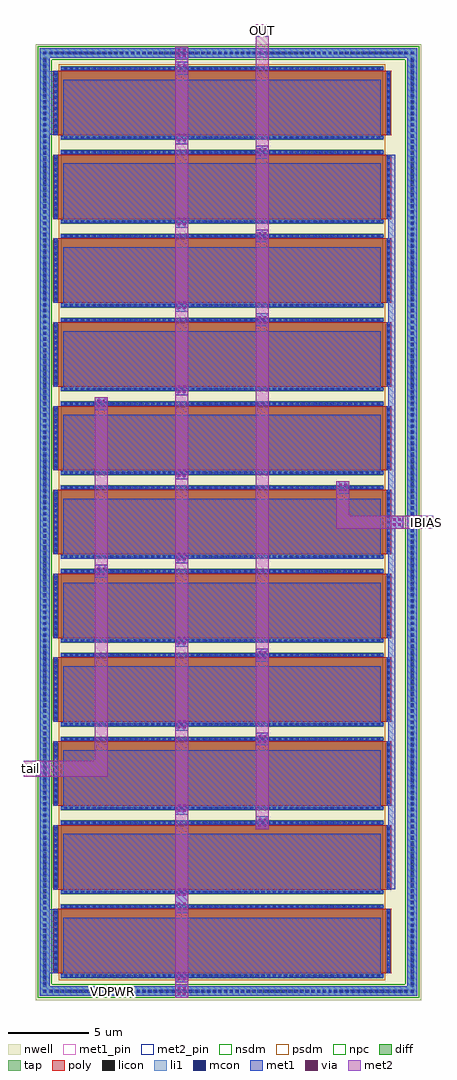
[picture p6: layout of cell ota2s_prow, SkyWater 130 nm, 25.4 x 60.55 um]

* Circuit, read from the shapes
.subckt ota2s_prow IBIAS OUT VDPWR tail
XM1 VDPWR VDPWR VDPWR VDPWR sky130_fd_pr__pfet_01v8 w=20 l=4 m=2
XM2 OUT IBIAS VDPWR VDPWR sky130_fd_pr__pfet_01v8 w=20 l=4 m=6
XM3 tail IBIAS VDPWR VDPWR sky130_fd_pr__pfet_01v8 w=20 l=4 m=2
XM4 IBIAS IBIAS VDPWR VDPWR sky130_fd_pr__pfet_01v8 w=20 l=4
.ends

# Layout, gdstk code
from math import pi, radians
import gdstk
lib = gdstk.Library(unit=1e-6, precision=1e-09)
def R(c, l, rs):  # rectangles x0, y0, x1, y1
    for r in rs: c.add(gdstk.rectangle(r[:2], r[2:], *l))
def A(c, l, x, y, w, h, nx, ny, dx, dy):  # array of equal rectangles
    R(c, l, [(x+i*dx, y+j*dy, x+i*dx+w, y+j*dy+h) for i in range(nx) for j in range(ny)])
nwell = (64, 20)
diff = (65, 20)
tap = (65, 44)
poly = (66, 20)
licon = (66, 44)
li1 = (67, 20)
mcon = (67, 44)
met1_pin = (68, 16)
met1 = (68, 20)
via = (68, 44)
met2_pin = (69, 16)
met2 = (69, 20)
nsdm = (93, 44)
psdm = (94, 20)
npc = (95, 20)

sky130_fd_pr__pfet_01v8_ = lib.new_cell('sky130_fd_pr__pfet_01v8_CMT7AQ')
R(sky130_fd_pr__pfet_01v8_, nwell, [(-2.47,-10.5,2.47,10.5)])
R(sky130_fd_pr__pfet_01v8_, diff, [(-2.29,-10,2.29,10)])
R(sky130_fd_pr__pfet_01v8_, poly, [(-2,-10.485,2,10.485)])
A(sky130_fd_pr__pfet_01v8_, licon, -1.785, -10.405, 0.17, 0.17, 11, 2, 0.34, 20.64)
A(sky130_fd_pr__pfet_01v8_, licon, -2.23, -9.775, 0.17, 0.17, 1, 58, 0, 0.34)
A(sky130_fd_pr__pfet_01v8_, licon, 2.06, -9.775, 0.17, 0.17, 1, 58, 0, 0.34)
R(sky130_fd_pr__pfet_01v8_, li1, [(-2,-10.405,2,-10.235), (-2.23,-10.02,-2.06,10.02), (2.06,-10.02,2.23,10.02), (-2,10.235,2,10.405)])
A(sky130_fd_pr__pfet_01v8_, mcon, -1.885, -10.405, 0.17, 0.17, 11, 2, 0.36, 20.64)
A(sky130_fd_pr__pfet_01v8_, mcon, -2.23, -9.805, 0.17, 0.17, 1, 55, 0, 0.36)
A(sky130_fd_pr__pfet_01v8_, mcon, 2.06, -9.805, 0.17, 0.17, 1, 55, 0, 0.36)
R(sky130_fd_pr__pfet_01v8_, met1, [(-1.98,-10.435,1.98,-10.205), (-2.26,-10,-2.03,10), (2.03,-10,2.26,10), (-1.98,10.205,1.98,10.435)])
R(sky130_fd_pr__pfet_01v8_, psdm, [(-2.415,-10.125,2.415,10.125)])
R(sky130_fd_pr__pfet_01v8_, npc, [(-1.885,-10.505,1.885,-10.135), (-1.885,10.135,1.885,10.505)])
sky130_fd_pr__pfet_01v8_.add(gdstk.Label('G', (0,10.32), layer=67, texttype=5))
sky130_fd_pr__pfet_01v8_.add(gdstk.Label('S', (2.145,0), layer=67, texttype=5))
sky130_fd_pr__pfet_01v8_.add(gdstk.Label('D', (-2.145,0), layer=67, texttype=5))

ota2s_prow_arr = lib.new_cell('ota2s_prow_arr')
R(ota2s_prow_arr, nwell, [(-0.25,-0.25,23.65,59.05)])
R(ota2s_prow_arr, tap, [(0,0,23.4,0.6), (0,0.6,0.6,58.2), (22.8,0.6,23.4,58.2), (0,58.2,23.4,58.8)])
A(ota2s_prow_arr, licon, 0.565, 0.215, 0.17, 0.17, 66, 2, 0.34, 58.2)
A(ota2s_prow_arr, licon, 0.215, 0.585, 0.17, 0.17, 1, 170, 0, 0.34)
A(ota2s_prow_arr, licon, 23.015, 0.585, 0.17, 0.17, 1, 170, 0, 0.34)
R(ota2s_prow_arr, licon, [(0.215,0.215,0.385,0.385), (23.015,0.215,23.185,0.385), (0.215,58.415,0.385,58.585), (23.015,58.415,23.185,58.585)])
R(ota2s_prow_arr, li1, [(0,0,23.4,0.6), (0,0.6,0.6,58.2), (22.8,0.6,23.4,58.2), (0,58.2,23.4,58.8)])
A(ota2s_prow_arr, mcon, 0.635, 0.215, 0.17, 0.17, 62, 2, 0.36, 58.2)
A(ota2s_prow_arr, mcon, 0.215, 0.695, 0.17, 0.17, 1, 160, 0, 0.36)
A(ota2s_prow_arr, mcon, 23.015, 0.695, 0.17, 0.17, 1, 160, 0, 0.36)
R(ota2s_prow_arr, mcon, [(0.215,0.215,0.385,0.385), (23.015,0.215,23.185,0.385), (0.215,58.415,0.385,58.585), (23.015,58.415,23.185,58.585)])
A(ota2s_prow_arr, met1, 1.45, 1.14, 19.7, 3.71, 1, 11, 0, 5.2)
A(ota2s_prow_arr, met1, 13.4, 10.345, 0.8, 0.8, 1, 3, 0, 5.2)
A(ota2s_prow_arr, met1, 8.4, 11.255, 0.8, 0.285, 1, 9, 0, 5.2)
A(ota2s_prow_arr, met1, 13.4, 41.545, 0.8, 0.8, 1, 3, 0, 5.2)
R(ota2s_prow_arr, met1, [(8.4,-0.1,9.2,0), (0,0,23.4,0.6), (0,0.6,0.6,1.42), (8.4,0.6,9.2,0.7), (22.8,0.6,23.4,58.2), (8.4,0.855,9.2,1.14), (0,1.42,1.095,5.38), (8.4,5.145,9.2,6.34), (0,5.38,0.6,53.42), (21.6,6.62,22.05,29), (3.4,25.945,4.2,26.745), (21.6,29,22.55,29.8), (21.6,29.8,22.05,52.18), (18.4,31.145,19.2,31.945), (3.4,36.345,4.2,37.145), (0,53.42,1.095,57.38), (8.4,57.145,9.2,57.945), (0,57.38,0.6,58.2), (8.4,58.1,9.2,58.2), (0,58.2,23.4,58.8), (8.4,58.8,9.2,58.9)])
R(ota2s_prow_arr, via, [(8.565,0.065,8.715,0.215), (8.885,0.065,9.035,0.215), (8.565,0.385,8.715,0.535), (8.885,0.385,9.035,0.535), (8.565,1.02,8.715,1.17), (8.885,1.02,9.035,1.17), (8.565,1.34,8.715,1.49), (8.885,1.34,9.035,1.49), (8.565,5.31,8.715,5.46), (8.885,5.31,9.035,5.46), (8.565,5.63,8.715,5.78), (8.885,5.63,9.035,5.78), (8.565,6.22,8.715,6.37), (8.885,6.22,9.035,6.37), (8.565,6.54,8.715,6.69), (8.885,6.54,9.035,6.69), (13.565,10.51,13.715,10.66), (13.885,10.51,14.035,10.66), (13.565,10.83,13.715,10.98), (13.885,10.83,14.035,10.98), (8.565,11.42,8.715,11.57), (8.885,11.42,9.035,11.57), (8.565,11.74,8.715,11.89), (8.885,11.74,9.035,11.89), (13.565,15.71,13.715,15.86), (13.885,15.71,14.035,15.86), (13.565,16.03,13.715,16.18), (13.885,16.03,14.035,16.18), (8.565,16.62,8.715,16.77), (8.885,16.62,9.035,16.77), (8.565,16.94,8.715,17.09), (8.885,16.94,9.035,17.09), (13.565,20.91,13.715,21.06), (13.885,20.91,14.035,21.06), (13.565,21.23,13.715,21.38), (13.885,21.23,14.035,21.38), (8.565,21.82,8.715,21.97), (8.885,21.82,9.035,21.97), (8.565,22.14,8.715,22.29), (8.885,22.14,9.035,22.29), (3.565,26.11,3.715,26.26), (3.885,26.11,4.035,26.26), (3.565,26.43,3.715,26.58), (3.885,26.43,4.035,26.58), (8.565,27.02,8.715,27.17), (8.885,27.02,9.035,27.17), (8.565,27.34,8.715,27.49), (8.885,27.34,9.035,27.49), (21.915,29.165,22.065,29.315), (22.235,29.165,22.385,29.315), (21.915,29.485,22.065,29.635), (22.235,29.485,22.385,29.635), (18.565,31.31,18.715,31.46), (18.885,31.31,19.035,31.46), (18.565,31.63,18.715,31.78), (18.885,31.63,19.035,31.78), (8.565,32.22,8.715,32.37), (8.885,32.22,9.035,32.37), (8.565,32.54,8.715,32.69), (8.885,32.54,9.035,32.69), (3.565,36.51,3.715,36.66), (3.885,36.51,4.035,36.66), (3.565,36.83,3.715,36.98), (3.885,36.83,4.035,36.98), (8.565,37.42,8.715,37.57), (8.885,37.42,9.035,37.57), (8.565,37.74,8.715,37.89), (8.885,37.74,9.035,37.89), (13.565,41.71,13.715,41.86), (13.885,41.71,14.035,41.86), (13.565,42.03,13.715,42.18), (13.885,42.03,14.035,42.18), (8.565,42.62,8.715,42.77), (8.885,42.62,9.035,42.77), (8.565,42.94,8.715,43.09), (8.885,42.94,9.035,43.09), (13.565,46.91,13.715,47.06), (13.885,46.91,14.035,47.06), (13.565,47.23,13.715,47.38), (13.885,47.23,14.035,47.38), (8.565,47.82,8.715,47.97), (8.885,47.82,9.035,47.97), (8.565,48.14,8.715,48.29), (8.885,48.14,9.035,48.29), (13.565,52.11,13.715,52.26), (13.885,52.11,14.035,52.26), (13.565,52.43,13.715,52.58), (13.885,52.43,14.035,52.58), (8.565,53.02,8.715,53.17), (8.885,53.02,9.035,53.17), (8.565,53.34,8.715,53.49), (8.885,53.34,9.035,53.49), (8.565,57.31,8.715,57.46), (8.885,57.31,9.035,57.46), (8.565,57.63,8.715,57.78), (8.885,57.63,9.035,57.78), (8.565,58.265,8.715,58.415), (8.885,58.265,9.035,58.415), (8.565,58.585,8.715,58.735), (8.885,58.585,9.035,58.735)])
A(ota2s_prow_arr, met2, 13.4, 10.345, 0.8, 0.8, 1, 3, 0, 5.2)
A(ota2s_prow_arr, met2, 8.4, 11.255, 0.8, 0.8, 1, 9, 0, 5.2)
A(ota2s_prow_arr, met2, 13.4, 41.545, 0.8, 0.8, 1, 3, 0, 5.2)
R(ota2s_prow_arr, met2, [(8.4,-0.1,9.2,0.7), (8.4,0.855,9.2,1.655), (8.4,5.145,9.2,6.855), (3.4,25.945,4.2,26.745), (21.75,29,22.55,29.8), (18.4,31.145,19.2,31.945), (3.4,36.345,4.2,37.145), (8.4,57.145,9.2,57.945), (8.4,58.1,9.2,58.9)])
R(ota2s_prow_arr, nsdm, [(-0.125,-0.125,23.525,0.725), (-0.125,0.725,0.725,58.075), (22.675,0.725,23.525,58.075), (-0.125,58.075,23.525,58.925)])
A(ota2s_prow_arr, psdm, 1.175, 5.815, 20.25, 0.37, 1, 10, 0, 5.2)
ota2s_prow_arr.add(gdstk.Reference(sky130_fd_pr__pfet_01v8_, (11.3,24.2), rotation=3*pi/2))
ota2s_prow_arr.add(gdstk.Reference(sky130_fd_pr__pfet_01v8_, (11.3,50.2), rotation=3*pi/2))
ota2s_prow_arr.add(gdstk.Reference(sky130_fd_pr__pfet_01v8_, (11.3,45), rotation=3*pi/2))
ota2s_prow_arr.add(gdstk.Reference(sky130_fd_pr__pfet_01v8_, (11.3,19), rotation=3*pi/2))
ota2s_prow_arr.add(gdstk.Reference(sky130_fd_pr__pfet_01v8_, (11.3,13.8), rotation=3*pi/2))
ota2s_prow_arr.add(gdstk.Reference(sky130_fd_pr__pfet_01v8_, (11.3,29.4), rotation=3*pi/2))
ota2s_prow_arr.add(gdstk.Reference(sky130_fd_pr__pfet_01v8_, (11.3,8.6), rotation=3*pi/2))
ota2s_prow_arr.add(gdstk.Reference(sky130_fd_pr__pfet_01v8_, (11.3,34.6), rotation=3*pi/2))
ota2s_prow_arr.add(gdstk.Reference(sky130_fd_pr__pfet_01v8_, (11.3,55.4), rotation=3*pi/2))
ota2s_prow_arr.add(gdstk.Reference(sky130_fd_pr__pfet_01v8_, (11.3,39.8), rotation=3*pi/2))
ota2s_prow_arr.add(gdstk.Reference(sky130_fd_pr__pfet_01v8_, (11.3,3.4), rotation=3*pi/2))

ota2s_prow = lib.new_cell('ota2s_prow')
R(ota2s_prow, met1_pin, [(4,0,5,0.6)])
R(ota2s_prow, met1, [(4,0,5,0.6)])
R(ota2s_prow, met2_pin, [(-1,13.6,-0.2,14.6), (23.6,29,24.4,29.8), (13.4,59.5,14.2,60.3)])
R(ota2s_prow, met2, [(8.4,-0.1,9.2,58.9), (13.4,10.345,14.2,60.3), (-1,13.6,4.2,14.6), (3.4,14.6,4.2,37.145), (18.4,29,24.4,29.8), (18.4,29.8,19.2,31.945)])
ota2s_prow.add(gdstk.Reference(ota2s_prow_arr, (0,0)))
ota2s_prow.add(gdstk.Label('IBIAS', (24,29.4), layer=69, texttype=5))
ota2s_prow.add(gdstk.Label('OUT', (13.8,59.9), layer=69, texttype=5))
ota2s_prow.add(gdstk.Label('tail', (-0.6,14.1), layer=69, texttype=5))
ota2s_prow.add(gdstk.Label('VDPWR', (4.5,0.3), layer=68, texttype=5))

lib.write_gds('ota2s_prow.gds')
